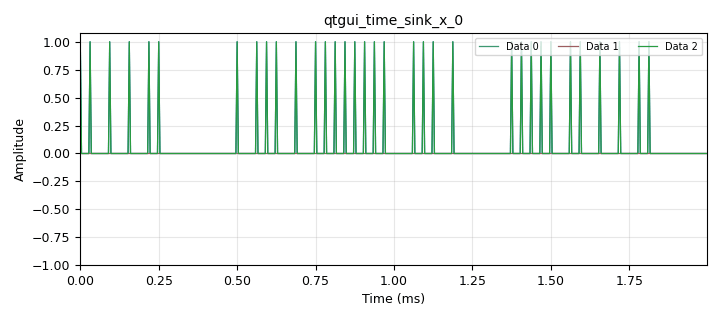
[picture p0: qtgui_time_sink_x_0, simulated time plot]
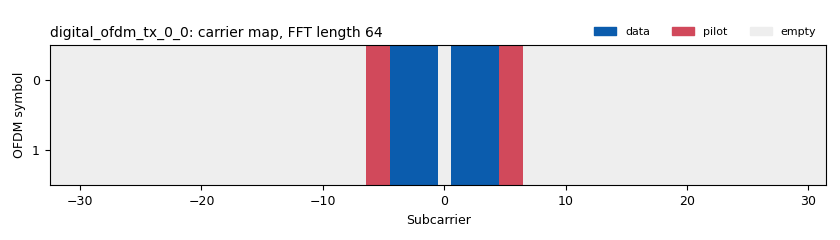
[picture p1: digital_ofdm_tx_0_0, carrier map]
options:
  parameters:
    description: ' OFDM ...surement'
    generate_options: qt_gui
    id: OFDM_loopback_BER
    output_language: python
    title: OFDM_loopback_BER
  states: {}

blocks:
- name: delay
  id: variable_qtgui_range
  parameters:
    label: Delay
    start: '0'
    step: '1'
    stop: '1000'
    value: '100'
  states: {}
- name: fft_len
  id: variable
  parameters:
    value: '64'
  states: {}
- name: freq_offset
  id: variable_qtgui_range
  parameters:
    label: Frequency Offset
    start: '-0.100'
    step: '0.001'
    stop: '0.100'
    value: '0'
  states: {}
- name: len_tag_key
  id: variable
  parameters:
    value: packet_len
  states: {}
- name: noise_volt
  id: variable_qtgui_range
  parameters:
    label: Noise Voltage
    start: '0'
    step: '0.010'
    stop: '1'
    value: '0'
  states: {}
- name: packet_len
  id: variable
  parameters:
    value: '50'
  states: {}
- name: samp_rate
  id: variable
  parameters:
    value: '256000'
  states: {}
- name: taps
  id: variable
  parameters:
    value: '1'
  states: {}
- name: time_offset
  id: variable_qtgui_range
  parameters:
    label: Timing Offset
    start: '0.999'
    step: '0.0001'
    stop: '1.001'
    value: '1'
  states: {}
- name: analog_random_source_x_0
  id: analog_random_source_x
  parameters:
    max: '2'
    min: '0'
    num_samps: '50'
    repeat: 'True'
    type: byte
  states: {}
- name: blocks_delay_1
  id: blocks_delay
  parameters:
    delay: '100'
    type: byte
  states: {}
- name: blocks_repack_bits_bb_0
  id: blocks_repack_bits_bb
  parameters:
    endianness: gr.GR_LSB_FIRST
    k: '8'
    l: '1'
  states: {}
- name: blocks_repack_bits_bb_0_0
  id: blocks_repack_bits_bb
  parameters:
    endianness: gr.GR_LSB_FIRST
    k: '8'
    l: '1'
  states: {}
- name: blocks_stream_to_tagged_stream_1
  id: blocks_stream_to_tagged_stream
  parameters:
    len_tag_key: '"packet_len"'
    packet_len: '50'
    type: byte
  states: {}
- name: blocks_sub_xx_0
  id: blocks_sub_xx
  parameters:
    type: float
  states: {}
- name: blocks_throttle_0
  id: blocks_throttle
  parameters:
    samples_per_second: samp_rate
    type: complex
  states: {}
- name: blocks_uchar_to_float_0
  id: blocks_uchar_to_float
  parameters: {}
  states: {}
- name: blocks_uchar_to_float_1
  id: blocks_uchar_to_float
  parameters: {}
  states: {}
- name: channels_channel_model_0
  id: channels_channel_model
  parameters:
    epsilon: '1.0'
    freq_offset: '0'
    noise_voltage: '0'
    seed: '0'
    taps: '1.0 '
  states: {}
- name: digital_ofdm_rx_0
  id: digital_ofdm_rx
  parameters:
    cp_len: '16'
    fft_len: '64'
    header_mod: '"BPSK"'
    occupied_carriers: ((-4,-3,-2,-1,1,2,3,4),)
    packet_len_key: '"rx_len"'
    payload_mod: '"QPSK"'
    pilot_carriers: ((-6,-5,5,6),)
    pilot_symbols: ((-1,1,-1,1),)
    sync_word1: None
    sync_word2: None
  states: {}
- name: digital_ofdm_tx_0_0
  id: digital_ofdm_tx
  parameters:
    cp_len: '16'
    fft_len: '64'
    header_mod: '"BPSK"'
    occupied_carriers: ((-4,-3,-2,-1,1,2,3,4),)
    packet_len_key: packet_len
    payload_mod: '"QPSK"'
    pilot_carriers: ((-6,-5,5,6),)
    pilot_symbols: ((-1,1,-1,1),)
    rolloff: '0'
    sync_word1: None
    sync_word2: None
  states: {}
- name: fec_ber_bf_0
  id: fec_ber_bf
  parameters:
    test_mode: 'False'
  states: {}
- name: qtgui_number_sink_0
  id: qtgui_number_sink
  parameters:
    autoscale: 'True'
    graph_type: qtgui.NUM_GRAPH_HORIZ
    name: BER
    type: float
  states: {}
- name: qtgui_time_sink_x_0
  id: qtgui_time_sink_x
  parameters:
    label1: ''
    label2: ''
    label3: ''
    name: ''
    nconnections: '3'
    size: '512'
    srate: samp_rate
    type: float
  states: {}
- name: virtual_sink_0
  id: virtual_sink
  parameters:
    alias: byte
    stream_id: t1
  states: {}
- name: virtual_sink_1
  id: virtual_sink
  parameters:
    stream_id: t2
  states: {}
- name: virtual_source_0
  id: virtual_source
  parameters:
    stream_id: t2
  states: {}
- name: virtual_source_0_0
  id: virtual_source
  parameters:
    stream_id: t1
  states: {}

connections:
- [analog_random_source_x_0, '0', blocks_stream_to_tagged_stream_1, '0']
- [analog_random_source_x_0, '0', virtual_sink_0, '0']
- [blocks_delay_1, '0', blocks_repack_bits_bb_0_0, '0']
- [blocks_delay_1, '0', fec_ber_bf_0, '1']
- [blocks_repack_bits_bb_0, '0', blocks_uchar_to_float_0, '0']
- [blocks_repack_bits_bb_0_0, '0', blocks_uchar_to_float_1, '0']
- [blocks_stream_to_tagged_stream_1, '0', digital_ofdm_tx_0_0, '0']
- [blocks_sub_xx_0, '0', qtgui_time_sink_x_0, '1']
- [blocks_throttle_0, '0', channels_channel_model_0, '0']
- [blocks_uchar_to_float_0, '0', blocks_sub_xx_0, '0']
- [blocks_uchar_to_float_0, '0', qtgui_time_sink_x_0, '0']
- [blocks_uchar_to_float_1, '0', blocks_sub_xx_0, '1']
- [blocks_uchar_to_float_1, '0', qtgui_time_sink_x_0, '2']
- [channels_channel_model_0, '0', virtual_sink_1, '0']
- [digital_ofdm_rx_0, '0', blocks_repack_bits_bb_0, '0']
- [digital_ofdm_rx_0, '0', fec_ber_bf_0, '0']
- [digital_ofdm_tx_0_0, '0', blocks_throttle_0, '0']
- [fec_ber_bf_0, '0', qtgui_number_sink_0, '0']
- [virtual_source_0, '0', digital_ofdm_rx_0, '0']
- [virtual_source_0_0, '0', blocks_delay_1, '0']

metadata:
  file_format: 1
  grc_version: 3.10.10.0
